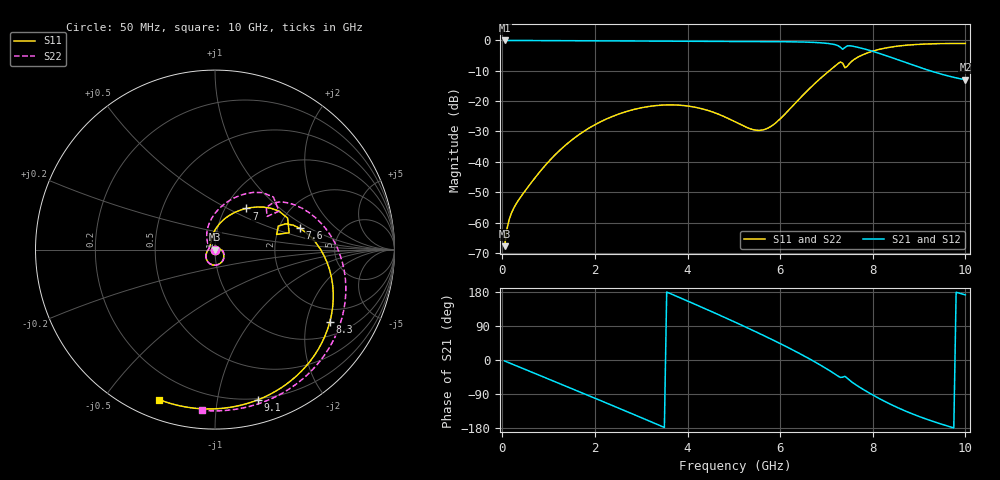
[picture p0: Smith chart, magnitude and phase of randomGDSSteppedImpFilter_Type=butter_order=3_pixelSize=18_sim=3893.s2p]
! freq	dB(S11)	phase(S11)	dB(S12)	phase(S12)
!  dB(S21)	phase(S21)	dB(S22)	phase(S22)
!S-par simulation data
#  GHz  S  DB  R 50
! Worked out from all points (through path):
!   200 points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, 50 MHz to 10 GHz, reference 50 ohm
!   highest |S21| = 0.00 dB at 50 MHz (marker M1); lowest = -12.9 dB at 10 GHz (marker M2)
!   group delay of S21, straight-line fit = 158 ps
!   lowest |S11| = -67.8 dB at 50 MHz (marker M3), VSWR 1.00, Z = 50 + j0.0388 ohm
!   |S11| at or under -10 dB: start of sweep to 7.062 GHz
!   |S22| runs from -67.6 to -0.9 dB; largest |S21 - S12| = 0
!   S11 on the Smith chart (normalised r, x): 50 MHz: 1.00, +0.00; 7 GHz: 1.25, +0.63; 7.6 GHz: 2.61, +0.81; 8.3 GHz: 1.46, -2.76; 9.1 GHz: 0.19, -1.31; 10 GHz: 0.08, -0.69
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0.05  -67.79 71.9  -0.00 -2.6  -0.00 -2.6  -67.56 72.3
0.15  -58.95 68.1  -0.02 -7.6  -0.02 -7.6  -58.91 69.3
0.35  -52.62 58.5  -0.02 -17.7  -0.02 -17.7  -52.70 63.7
1.1  -38.31 34.0  -0.06 -55.4  -0.06 -55.4  -38.15 41.7
1.75  -30.07 1.9  -0.10 -88.2  -0.10 -88.2  -29.99 8.0
2.5  -24.33 -35.9  -0.16 -126.3  -0.16 -126.3  -24.29 -32.0
3.4  -21.36 -81.0  -0.25 -172.8  -0.25 -172.8  -21.36 -79.7
4.15  -21.97 -118.5  -0.30 147.7  -0.30 147.7  -22.00 -119.7
5.05  -27.00 -166.6  -0.35 98.6  -0.35 98.6  -27.03 -168.5
5.75  -28.78 136.3  -0.39 58.4  -0.39 58.4  -28.77 155.1
6.25  -21.92 99.7  -0.45 27.9  -0.45 27.9  -22.11 125.6
6.7  -14.88 72.5  -0.63 -1.6  -0.63 -1.6  -15.00 95.4
7  -10.79 52.6  -0.94 -22.9  -0.94 -22.9  -10.86 73.4
7.25  -7.62 31.1  -1.73 -42.4  -1.73 -42.4  -7.67 50.1
7.35  -7.46 12.8  -2.88 -45.3  -2.88 -45.3  -7.60 31.0
7.4  -9.03 13.8  -2.31 -43.2  -2.31 -43.2  -9.26 32.5
7.6  -6.24 14.1  -1.99 -62.6  -1.99 -62.6  -6.28 32.4
7.95  -3.76 -10.0  -3.36 -88.9  -3.36 -88.9  -3.76 7.1
8.3  -2.42 -32.3  -5.07 -111.8  -5.07 -111.8  -2.41 -15.9
8.35  -2.29 -35.2  -5.34 -114.9  -5.34 -114.9  -2.27 -19.0
9.1  -1.21 -73.9  -9.31 -153.5  -9.31 -153.5  -1.16 -58.3
10  -0.99 -110.5  -12.92 171.8  -12.92 171.8  -0.93 -94.5
